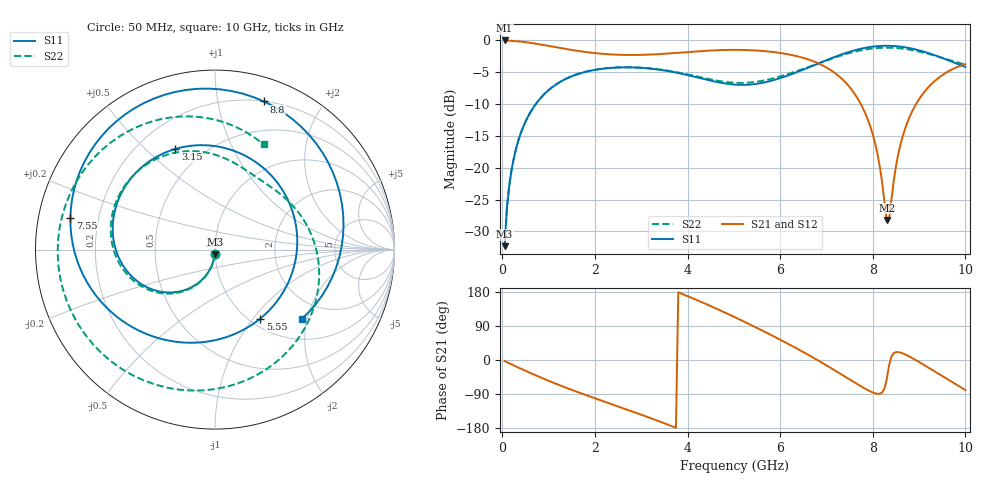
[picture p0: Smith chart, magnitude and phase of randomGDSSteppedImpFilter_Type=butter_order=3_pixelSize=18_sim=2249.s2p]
! freq	dB(S11)	phase(S11)	dB(S12)	phase(S12)
!  dB(S21)	phase(S21)	dB(S22)	phase(S22)
!S-par simulation data
#  GHz  S  DB  R 50
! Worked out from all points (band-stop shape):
!   200 points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, 50 MHz to 10 GHz, reference 50 ohm
!   highest |S21| = -0.01 dB at 50 MHz (marker M1); lowest = -28.2 dB at 8.3 GHz (marker M2)
!   |S21| within 3 dB of the highest: start of sweep to 6.615 GHz
!   lowest |S11| = -32.3 dB at 50 MHz (marker M3), VSWR 1.05, Z = 49.8 - j2.41 ohm
!   |S11| at or under -10 dB: start of sweep to 723.5 MHz
!   |S22| runs from -32.3 to -1.1 dB; largest |S21 - S12| = 0
!   S11 on the Smith chart (normalised r, x): 50 MHz: 1.00, -0.05; 3.15 GHz: 0.35, +0.62; 5.55 GHz: 1.12, -1.09; 7.55 GHz: 0.10, +0.11; 8.8 GHz: 0.20, +1.36; 10 GHz: 1.49, -1.86
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0.05  -32.32 -92.9  -0.01 -2.9  -0.01 -2.9  -32.31 -92.9
0.2  -20.35 -102.1  -0.06 -11.6  -0.06 -11.6  -20.35 -101.7
0.5  -12.78 -119.6  -0.28 -28.5  -0.28 -28.5  -12.78 -118.7
1.1  -7.22 -151.4  -0.99 -59.9  -0.99 -59.9  -7.22 -149.4
1.75  -5.03 177.3  -1.77 -90.1  -1.77 -90.1  -5.02 -178.7
2.4  -4.29 147.6  -2.22 -118.3  -2.22 -118.3  -4.27 154.9
3.15  -4.40 111.5  -2.23 -150.9  -2.23 -150.9  -4.36 126.0
3.4  -4.61 98.3  -2.14 -162.4  -2.14 -162.4  -4.56 116.5
4.25  -5.88 46.0  -1.70 155.6  -1.70 155.6  -5.74 85.7
5.05  -6.96 -15.9  -1.48 111.3  -1.48 111.3  -6.66 59.3
5.55  -6.75 -56.7  -1.62 81.6  -1.62 81.6  -6.42 40.6
6.2  -5.42 -104.3  -2.22 40.8  -2.22 40.8  -5.20 6.1
6.7  -3.99 -136.8  -3.23 7.2  -3.23 7.2  -3.93 -29.6
7.1  -2.81 -162.3  -4.70 -21.5  -4.70 -21.5  -2.89 -63.0
7.55  -1.67 167.6  -7.80 -55.1  -7.80 -55.1  -1.88 -104.2
8  -0.97 135.0  -14.77 -85.7  -14.77 -85.7  -1.26 -146.8
8.3  -0.84 112.0  -28.20 -52.2  -28.20 -52.2  -1.14 -174.6
8.35  -0.84 108.1  -28.17 -15.3  -28.17 -15.3  -1.14 -179.2
8.55  -0.94 92.1  -17.88 20.8  -17.88 20.8  -1.22 163.1
8.8  -1.22 71.7  -11.94 8.6  -11.94 8.6  -1.46 142.1
9.4  -2.49 19.6  -6.00 -34.9  -6.00 -34.9  -2.52 98.1
10  -4.17 -38.6  -3.73 -79.3  -3.73 -79.3  -3.80 65.2
